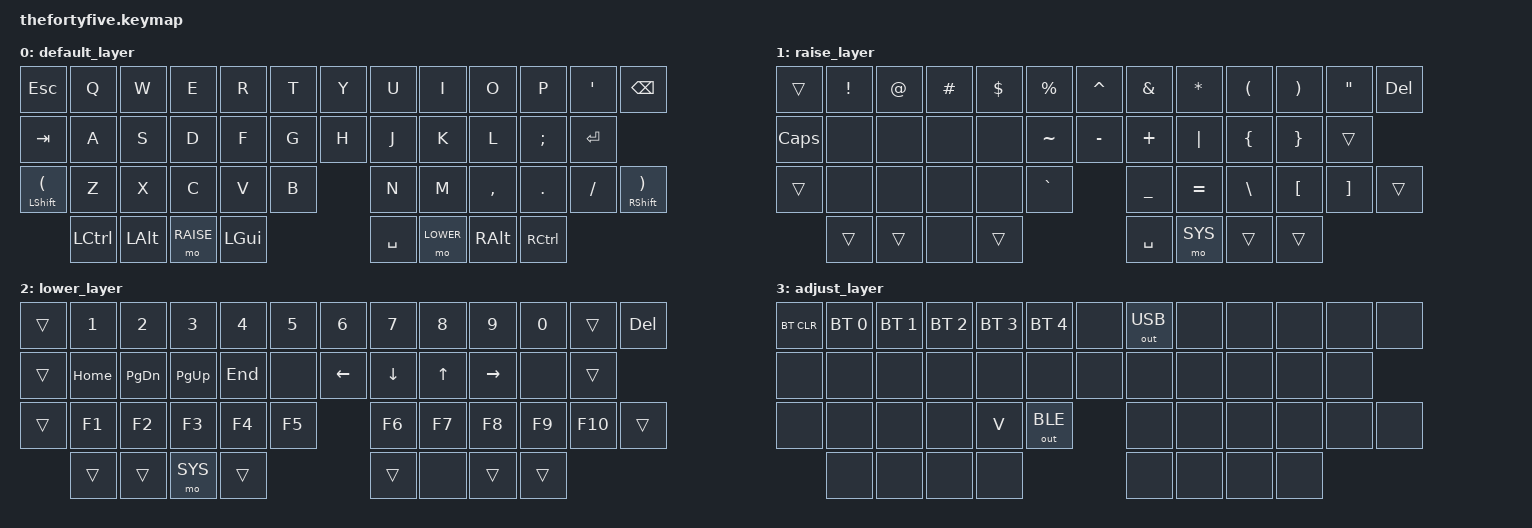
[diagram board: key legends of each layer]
#include <behaviors.dtsi>
#include <dt-bindings/zmk/keys.h>
#include <dt-bindings/zmk/bt.h>
#include <dt-bindings/zmk/outputs.h>

 #define DEFAULT 0
 #define RAISE  1
 #define LOWER  2
 #define SYS 3


/ {
  keymap {
  compatible = "zmk,keymap";

  default_layer {
    bindings = <
      &kp ESC   &kp Q     &kp W    &kp E     &kp R     &kp T                &kp Y     &kp U     &kp I     &kp O     &kp P    &kp APOS  &kp BSPC
      &kp TAB   &kp A     &kp S    &kp D     &kp F     &kp G                &kp H     &kp J     &kp K     &kp L     &kp SEMI &kp ENTER
      &mt LSHFT LPAR &kp Z     &kp X    &kp C     &kp V     &kp B                &kp N     &kp M     &kp COMMA &kp DOT   &kp FSLH &mt RSHFT RPAR
                &kp LCTRL &kp LALT &mo RAISE    &kp LGUI                       &kp SPACE        &mo LOWER &kp RALT  &kp RCTRL
    >;
  };

  raise_layer {
    bindings = <

      &trans    &kp EXCL  &kp AT   &kp HASH  &kp DLLR  &kp PRCNT            &kp CARET &kp AMPS  &kp ASTRK &kp LPAR  &kp RPAR &kp DQT   &kp DEL
      &kp CAPS    &none     &none    &none     &none     &kp TILDE            &kp MINUS &kp PLUS  &kp PIPE  &kp LBRC  &kp RBRC &trans
      &trans    &none     &none    &none     &none     &kp GRAVE            &kp UNDER &kp EQUAL &kp BSLH  &kp LBKT  &kp RBKT &trans
                &trans    &trans   &none        &trans                         &kp SPACE        &mo SYS   &trans    &trans
    >;
  };

  lower_layer {
    bindings = <
      &trans    &kp N1    &kp N2   &kp N3    &kp N4    &kp N5               &kp N6    &kp N7    &kp N8    &kp N9    &kp N0   &trans  &kp DEL
      &trans    &kp HOME  &kp PG_DN &kp PG_UP &kp END  &none                &kp LEFT  &kp DOWN  &kp UP    &kp RIGHT &none    &trans
      &trans    &kp F1    &kp F2   &kp F3    &kp F4    &kp F5               &kp F6    &kp F7    &kp F8    &kp F9    &kp F10  &trans
                &trans    &trans   &mo SYS        &trans                       &trans           &none     &trans  &trans
    >;
  };

  adjust_layer {
    bindings = <
      &bt BT_CLR &bt BT_SEL 0 &bt BT_SEL 1 &bt BT_SEL 2 &bt BT_SEL 3 &bt BT_SEL 4         &none     &out OUT_USB &none  &none     &none     &none     &none
      &none     &none     &none     &none     &none     &none                             &none     &none     &none     &none     &none     &none
      &none     &none     &none     &none     &kp V     &out OUT_BLE                      &none     &none     &none     &none     &none     &none
                &none &none &none        &none                                               &none            &none     &none     &none
    >;
  };

};
};
